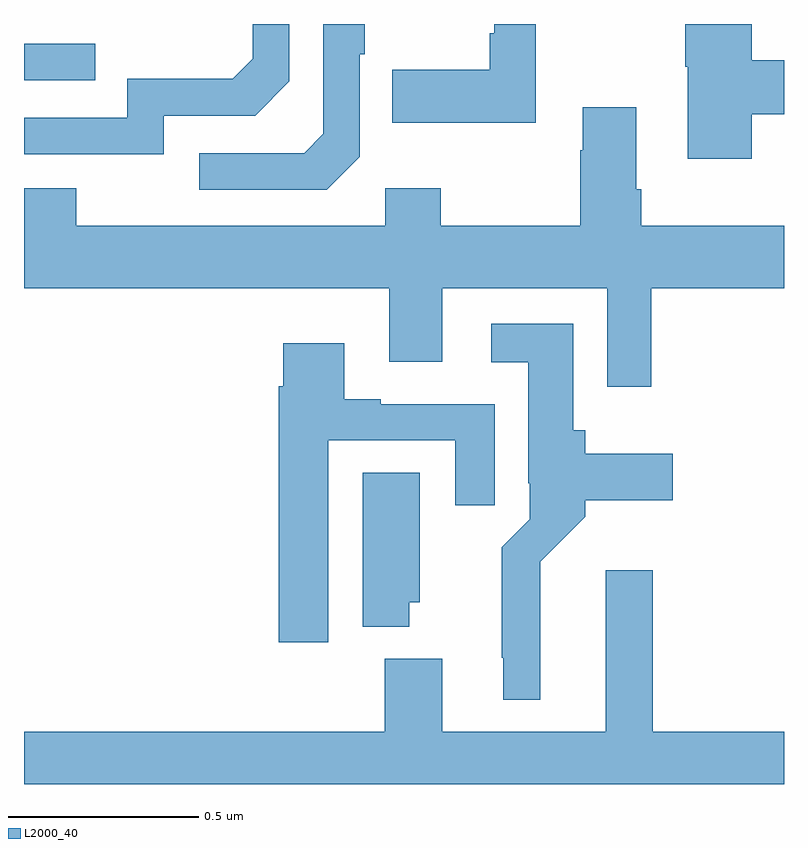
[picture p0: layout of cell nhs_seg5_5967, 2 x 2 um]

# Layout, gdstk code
import gdstk
lib = gdstk.Library(unit=1e-6, precision=1e-09)
def R(c, l, rs):  # rectangles x0, y0, x1, y1
    for r in rs: c.add(gdstk.rectangle(r[:2], r[2:], *l))
def P(c, l, *ps):  # polygons
    for p in ps: c.add(gdstk.Polygon(p, *l))
L2000_40 = (2000, 40)

nhs_seg5_5967 = lib.new_cell('nhs_seg5_5967')
R(nhs_seg5_5967, L2000_40, [(190,846.651,190.187,846.747)])
P(nhs_seg5_5967, L2000_40, [(191.915,846.562),(192,846.562),(192,846.704),(191.915,846.704),(191.915,846.799),(191.74,846.799),(191.74,846.687),(191.747,846.687),(191.747,846.444),(191.915,846.444)],
  [(191.347,846.799),(191.238,846.799),(191.238,846.775),(191.226,846.775),(191.226,846.679),(190.969,846.679),(190.969,846.539),(191.347,846.539)],
  [(190.884,846.45),(190.884,846.719),(190.897,846.719),(190.897,846.799),(190.788,846.799),(190.788,846.51),(190.737,846.459),(190.461,846.459),(190.461,846.363),(190.797,846.363)],
  [(190.368,846.558),(190.608,846.558),(190.698,846.648),(190.698,846.799),(190.602,846.799),(190.602,846.708),(190.549,846.655),(190.272,846.655),(190.272,846.552),(190,846.552),(190,846.456),(190.368,846.456)],
  [(191.651,846.104),(192,846.104),(192,846.268),(191.624,846.268),(191.624,846.364),(191.611,846.364),(191.611,846.58),(191.471,846.58),(191.471,846.467),(191.464,846.467),(191.464,846.268),(191.097,846.268),(191.097,846.367),(190.95,846.367),(190.95,846.268),(190.137,846.268),(190.137,846.367),(190,846.367),(190,846.104),(190.961,846.104),(190.961,845.91),(191.101,845.91),(191.101,846.104),(191.535,846.104),(191.535,845.844),(191.651,845.844)],
  [(191.359,845.384),(191.477,845.502),(191.477,845.546),(191.707,845.546),(191.707,845.668),(191.477,845.668),(191.477,845.73),(191.446,845.73),(191.446,846.01),(191.229,846.01),(191.229,845.909),(191.327,845.909),(191.327,845.59),(191.331,845.59),(191.331,845.496),(191.257,845.422),(191.257,845.131),(191.261,845.131),(191.261,845.021),(191.359,845.021)],
  [(190.801,845.703),(191.135,845.703),(191.135,845.532),(191.239,845.532),(191.239,845.799),(190.939,845.799),(190.939,845.812),(190.843,845.812),(190.843,845.959),(190.682,845.959),(190.682,845.846),(190.67,845.846),(190.67,845.172),(190.801,845.172)],
  [(191.014,845.277),(191.041,845.277),(191.041,845.618),(190.892,845.618),(190.892,845.213),(191.014,845.213)],
  [(192,844.936),(191.654,844.936),(191.654,845.362),(191.531,845.362),(191.531,844.936),(191.101,844.936),(191.101,845.128),(190.949,845.128),(190.949,844.936),(190,844.936),(190,844.799),(192,844.799)])

lib.write_gds('nhs_seg5_5967.gds')
